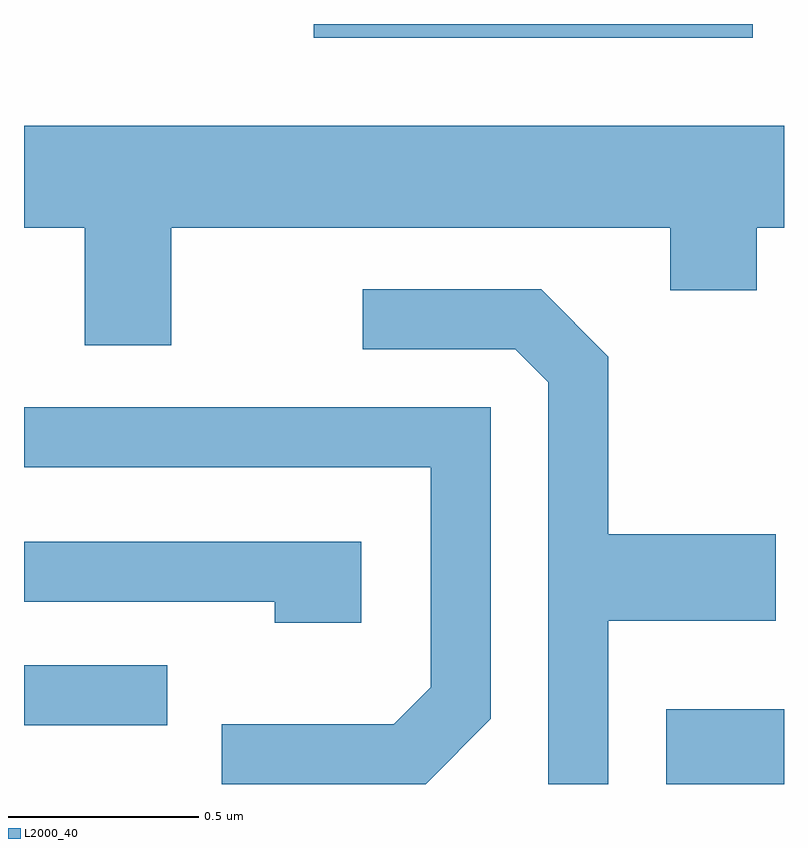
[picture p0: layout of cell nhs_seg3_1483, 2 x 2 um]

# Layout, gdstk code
import gdstk
lib = gdstk.Library(unit=1e-6, precision=1e-09)
def R(c, l, rs):  # rectangles x0, y0, x1, y1
    for r in rs: c.add(gdstk.rectangle(r[:2], r[2:], *l))
def P(c, l, *ps):  # polygons
    for p in ps: c.add(gdstk.Polygon(p, *l))
L2000_40 = (2000, 40)

nhs_seg3_1483 = lib.new_cell('nhs_seg3_1483')
R(nhs_seg3_1483, L2000_40, [(197.301,1228.892,197.611,1229.089), (195.611,1229.046,195.988,1229.204), (196.373,1230.856,197.529,1230.892)])
P(nhs_seg3_1483, L2000_40, [(195.999,1230.356),(197.311,1230.356),(197.311,1230.191),(197.539,1230.191),(197.539,1230.356),(197.611,1230.356),(197.611,1230.624),(195.611,1230.624),(195.611,1230.356),(195.771,1230.356),(195.771,1230.046),(195.999,1230.046)],
  [(197.149,1229.321),(197.589,1229.321),(197.589,1229.549),(197.149,1229.549),(197.149,1230.017),(196.972,1230.194),(196.503,1230.194),(196.503,1230.036),(196.904,1230.036),(196.991,1229.949),(196.991,1228.892),(197.149,1228.892)],
  [(196.839,1229.064),(196.839,1229.884),(195.611,1229.884),(195.611,1229.726),(196.681,1229.726),(196.681,1229.147),(196.584,1229.049),(196.131,1229.049),(196.131,1228.892),(196.668,1228.892)],
  [(196.499,1229.529),(195.611,1229.529),(195.611,1229.371),(196.271,1229.371),(196.271,1229.316),(196.499,1229.316)])

lib.write_gds('nhs_seg3_1483.gds')
